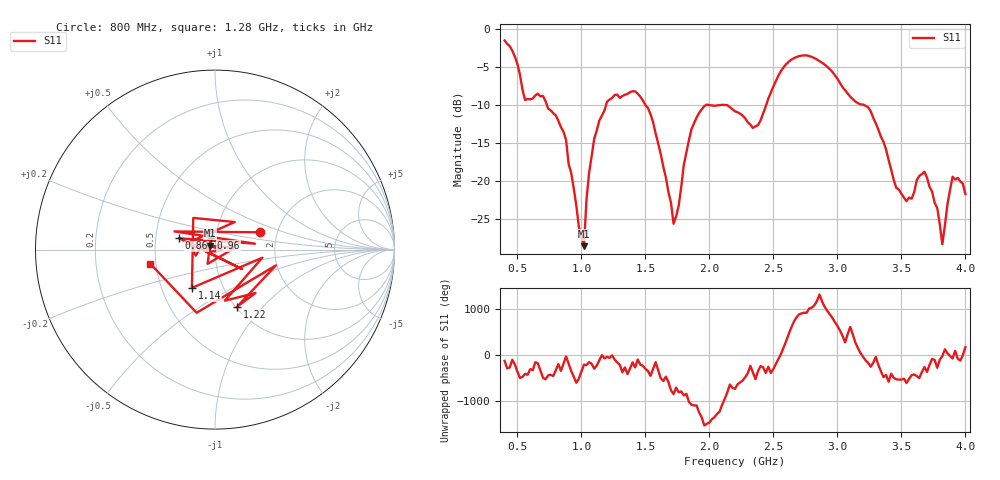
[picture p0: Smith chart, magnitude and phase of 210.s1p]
!Created with skrf (http://scikit-rf.org).
# Hz S RI R 50.0
!freq ReS11 ImS11
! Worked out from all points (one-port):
!   181 points, 400 MHz to 4 GHz, reference 50 ohm
!   lowest |S11| = -28.6 dB at 1.02 GHz (marker M1), VSWR 1.08, Z = 47 + j2.06 ohm
!   |S11| at or under -10 dB: 729.3 MHz to 1.193 GHz (463.9 MHz wide, 48.3 % of centre); 1.498 GHz to 1.979 GHz (480.3 MHz wide, 27.6 % of centre); 3.202 GHz to end of sweep (the widest 3 of 4)
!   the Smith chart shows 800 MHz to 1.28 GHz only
!   S11 on the Smith chart (normalised r, x): 800 MHz: 1.63, +0.34; 860 MHz: 0.66, +0.09; 960 MHz: 0.95, +0.12; 1.14 GHz: 0.71, -0.32; 1.22 GHz: 1.02, -0.73; 1.28 GHz: 0.47, -0.09
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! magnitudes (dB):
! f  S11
! 400 MHz  -1.6
! 560 MHz  -9.4
! 800 MHz  -11.4
! 860 MHz  -13.6
! 960 MHz  -23.2
! 1.02 GHz  -28.6
! 1.06 GHz  -19.0
! 1.14 GHz  -12.1
! 1.22 GHz  -9.3
! 1.28 GHz  -8.7
! 1.3 GHz  -9.1
! 1.52 GHz  -10.4
! 1.72 GHz  -25.6
! 1.76 GHz  -23.3
! 1.84 GHz  -14.7
! 1.92 GHz  -11.1
! 2.2 GHz  -10.9
! 2.38 GHz  -12.7
! 2.66 GHz  -3.9
! 3.1 GHz  -8.9
! 3.26 GHz  -10.9
! 3.46 GHz  -20.9
! 3.56 GHz  -22.2
! 3.68 GHz  -18.8
! 3.78 GHz  -23.6
! 3.82 GHz  -28.3
! 3.9 GHz  -19.5
! 4 GHz  -21.8
